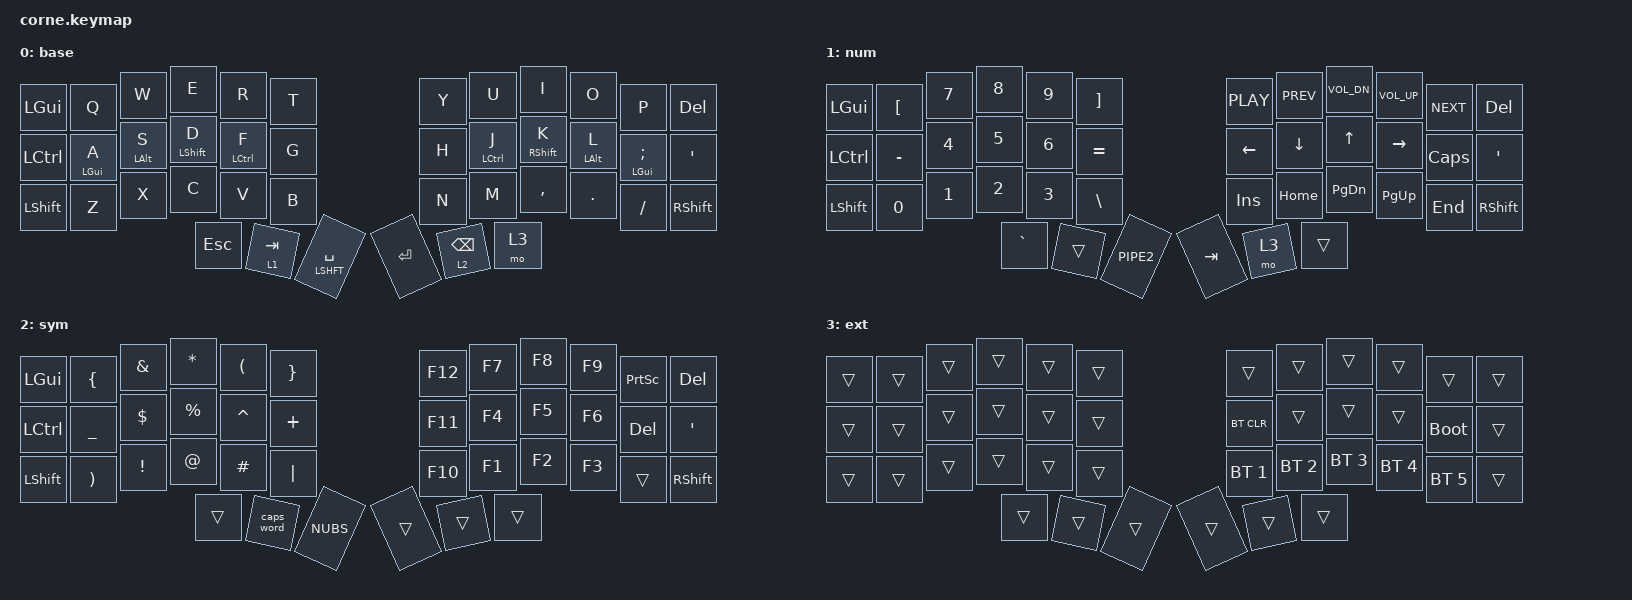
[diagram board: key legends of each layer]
#include <behaviors.dtsi>
#include <dt-bindings/zmk/keys.h>
#include <dt-bindings/zmk/bt.h>
#include <dt-bindings/zmk/outputs.h>
#include "zmk-helpers/helper.h"
#include "zmk-helpers/key-labels/42.h"
#include "include/combos.dtsi"
#include "include/hold-tap.dtsi"
#include "include/settings.dtsi"

ZMK_LAYER(base,
		&kp LGUI	  &kp Q           &kp W       &kp E        &kp R          &kp T           &kp Y       &kp U            &kp I         &kp O       &kp P           &kp DEL
		&kp LCTRL	  &hml LGUI A     &hml LALT S &hml LSHFT D &hml LCTRL F   &kp G           &kp H       &hmr LCTRL J     &hmr RSHFT K  &hmr LALT L &hmr LGUI SEMI  &kp APOS
    &kp LSHFT   &kp Z           &kp X       &kp C        &kp V          &kp B           &kp N       &kp M            &kp COMMA     &kp DOT     &kp FSLH        &kp RSHFT
      				  			                      &kp ESC      &lt_tab 1 TAB  &lt_shift LSHFT SPACE &kp RET     &lt_back 2 BSPC  &mo 3
)

ZMK_LAYER(num,  
    &kp LGUI	  &kp LBKT        &kp N7      &kp N8     &kp N9           &kp RBKT       &kp C_PLAY  &kp C_PREV       &kp C_VOL_DN  &kp C_VOL_UP &kp C_NEXT     &kp DEL
    &kp LCTRL	  &kp MINUS       &kp N4      &kp N5     &kp N6           &kp EQUAL      &kp LEFT    &kp DOWN         &kp UP        &kp RIGHT   &kp CAPSLOCK        &kp APOS
    &kp LSHFT   &kp N0          &kp N1      &kp N2     &kp N3           &kp BSLH       &kp INS     &kp HOME         &kp PG_DN     &kp PG_UP   &kp END         &kp RSHFT
                                            &kp GRAVE  &trans           &kp PIPE2      &kp TAB     &mo 3            &trans
)

ZMK_LAYER(sym,
    &kp LGUI	  &kp LBRC        &kp AMPS    &kp ASTRK  &kp LPAR         &kp RBRC       &kp F12     &kp F7           &kp F8        &kp F9      &kp PSCRN       &kp DEL
    &kp LCTRL	  &kp UNDERSCORE  &kp DLLR    &kp PRCNT  &kp CARET        &kp PLUS       &kp F11     &kp F4           &kp F5        &kp F6      &kp DEL         &kp APOS
    &kp LSHFT   &kp RPAR        &kp EXCL    &kp AT     &kp HASH         &kp PIPE       &kp F10     &kp F1           &kp F2        &kp F3      &trans          &kp RSHFT
                                            &trans     &caps_word       &kp NUBS       &trans      &trans           &trans          
)

ZMK_LAYER(ext,
    &trans      &trans          &trans      &trans     &trans           &trans         &trans       &trans          &trans        &trans    &trans          &trans
    &trans      &trans          &trans      &trans     &trans           &trans         &bt BT_CLR   &trans          &trans        &trans    &bootloader     &trans
    &trans      &trans          &trans      &trans     &trans           &trans         &bt BT_SEL 1 &bt BT_SEL 2    &bt BT_SEL 3  &bt BT_SEL 4  &bt BT_SEL 5 &trans
                                            &trans     &trans           &trans         &trans       &trans          &trans
)
